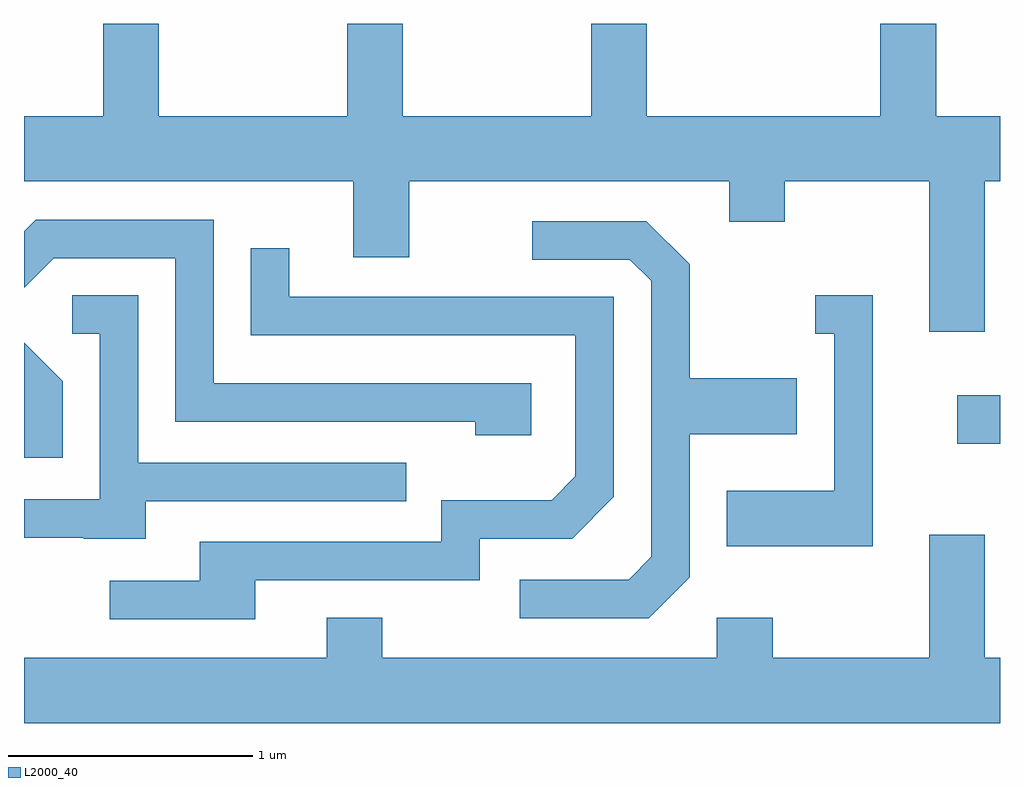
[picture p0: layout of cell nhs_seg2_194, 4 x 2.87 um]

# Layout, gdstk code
import gdstk
lib = gdstk.Library(unit=1e-6, precision=1e-09)
def R(c, l, rs):  # rectangles x0, y0, x1, y1
    for r in rs: c.add(gdstk.rectangle(r[:2], r[2:], *l))
def P(c, l, *ps):  # polygons
    for p in ps: c.add(gdstk.Polygon(p, *l))
L2000_40 = (2000, 40)

nhs_seg2_194 = lib.new_cell('nhs_seg2_194')
R(nhs_seg2_194, L2000_40, [(193.436,1096.081,193.611,1096.279)])
P(nhs_seg2_194, L2000_40, [(193.549,1097.156),(193.611,1097.156),(193.611,1097.424),(193.349,1097.424),(193.349,1097.802),(193.121,1097.802),(193.121,1097.424),(192.164,1097.424),(192.164,1097.802),(191.936,1097.802),(191.936,1097.424),(191.164,1097.424),(191.164,1097.802),(190.936,1097.802),(190.936,1097.424),(190.164,1097.424),(190.164,1097.802),(189.936,1097.802),(189.936,1097.424),(189.611,1097.424),(189.611,1097.156),(190.961,1097.156),(190.961,1096.846),(191.189,1096.846),(191.189,1097.156),(192.501,1097.156),(192.501,1096.991),(192.729,1096.991),(192.729,1097.156),(193.321,1097.156),(193.321,1096.541),(193.549,1096.541)],
  [(191.689,1096.329),(190.389,1096.329),(190.389,1096.999),(189.659,1096.999),(189.611,1096.951),(189.611,1096.72),(189.732,1096.841),(190.231,1096.841),(190.231,1096.171),(191.461,1096.171),(191.461,1096.116),(191.689,1096.116)],
  [(192.339,1095.534),(192.339,1096.121),(192.779,1096.121),(192.779,1096.349),(192.339,1096.349),(192.339,1096.817),(192.162,1096.994),(191.693,1096.994),(191.693,1096.836),(192.094,1096.836),(192.181,1096.749),(192.181,1095.617),(192.089,1095.524),(191.643,1095.524),(191.643,1095.366),(192.172,1095.366)],
  [(190.559,1095.521),(191.479,1095.521),(191.479,1095.691),(191.857,1095.691),(192.029,1095.864),(192.029,1096.684),(190.699,1096.684),(190.699,1096.883),(190.541,1096.883),(190.541,1096.526),(191.871,1096.526),(191.871,1095.947),(191.774,1095.849),(191.321,1095.849),(191.321,1095.679),(190.331,1095.679),(190.331,1095.519),(189.963,1095.519),(189.963,1095.361),(190.559,1095.361)],
  [(193.089,1096.689),(192.853,1096.689),(192.853,1096.531),(192.931,1096.531),(192.931,1095.889),(192.491,1095.889),(192.491,1095.661),(193.089,1095.661)],
  [(190.109,1095.846),(191.178,1095.846),(191.178,1096.004),(190.079,1096.004),(190.079,1096.689),(189.808,1096.689),(189.808,1096.531),(189.921,1096.531),(189.921,1095.854),(189.611,1095.854),(189.611,1095.696),(189.855,1095.696),(189.855,1095.691),(190.109,1095.691)],
  [(189.769,1096.337),(189.611,1096.495),(189.611,1096.023),(189.769,1096.023)],
  [(193.611,1095.204),(193.549,1095.204),(193.549,1095.709),(193.321,1095.709),(193.321,1095.204),(192.679,1095.204),(192.679,1095.369),(192.451,1095.369),(192.451,1095.204),(191.079,1095.204),(191.079,1095.369),(190.851,1095.369),(190.851,1095.204),(189.611,1095.204),(189.611,1094.936),(193.611,1094.936)])

lib.write_gds('nhs_seg2_194.gds')
